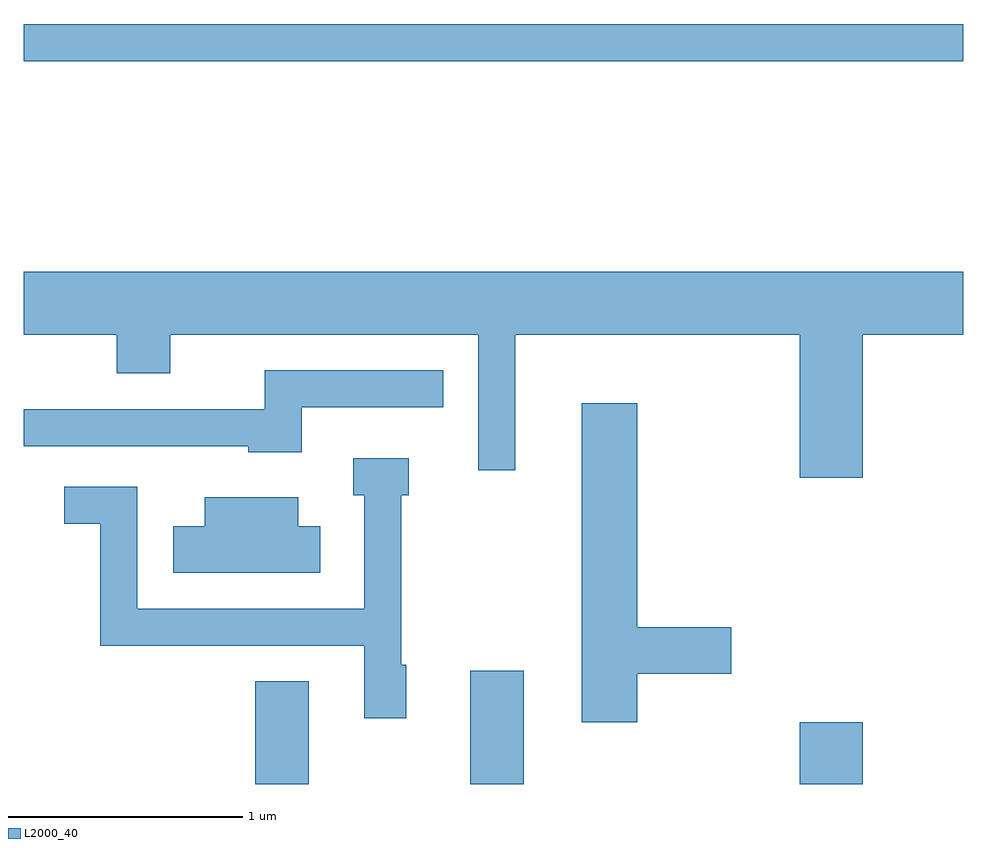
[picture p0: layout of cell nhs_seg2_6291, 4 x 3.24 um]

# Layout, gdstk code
import gdstk
lib = gdstk.Library(unit=1e-6, precision=1e-09)
def R(c, l, rs):  # rectangles x0, y0, x1, y1
    for r in rs: c.add(gdstk.rectangle(r[:2], r[2:], *l))
def P(c, l, *ps):  # polygons
    for p in ps: c.add(gdstk.Polygon(p, *l))
L2000_40 = (2000, 40)

nhs_seg2_6291 = lib.new_cell('nhs_seg2_6291')
R(nhs_seg2_6291, L2000_40, [(372.596,979.802,372.824,980.239), (373.511,979.802,373.739,980.284), (374.916,979.802,375.184,980.064), (371.611,982.881,375.611,983.039)])
P(nhs_seg2_6291, L2000_40, [(375.184,981.716),(375.611,981.716),(375.611,981.984),(371.611,981.984),(371.611,981.716),(372.006,981.716),(372.006,981.551),(372.234,981.551),(372.234,981.716),(373.546,981.716),(373.546,981.138),(373.704,981.138),(373.704,981.716),(374.916,981.716),(374.916,981.106),(375.184,981.106)],
  [(372.794,981.406),(373.398,981.406),(373.398,981.564),(372.636,981.564),(372.636,981.399),(371.611,981.399),(371.611,981.241),(372.566,981.241),(372.566,981.216),(372.794,981.216)],
  [(374.224,980.271),(374.624,980.271),(374.624,980.469),(374.224,980.469),(374.224,981.424),(373.986,981.424),(373.986,980.066),(374.224,980.066)],
  [(373.239,980.309),(373.219,980.309),(373.219,981.031),(373.249,981.031),(373.249,981.189),(373.013,981.189),(373.013,981.031),(373.061,981.031),(373.061,980.549),(372.094,980.549),(372.094,981.069),(371.783,981.069),(371.783,980.911),(371.936,980.911),(371.936,980.391),(373.061,980.391),(373.061,980.081),(373.239,980.081)],
  [(372.874,980.899),(372.779,980.899),(372.779,981.024),(372.381,981.024),(372.381,980.899),(372.246,980.899),(372.246,980.701),(372.874,980.701)])

lib.write_gds('nhs_seg2_6291.gds')
